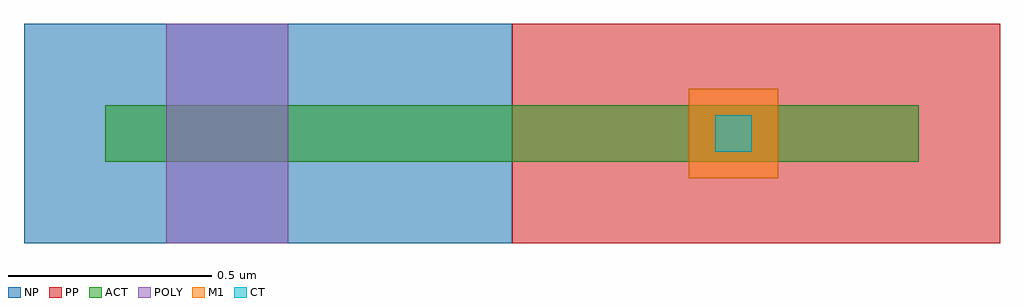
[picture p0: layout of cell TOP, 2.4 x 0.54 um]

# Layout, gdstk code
import gdstk
lib = gdstk.Library(unit=1e-6, precision=1e-09)
def R(c, l, rs):  # rectangles x0, y0, x1, y1
    for r in rs: c.add(gdstk.rectangle(r[:2], r[2:], *l))
ACT = (2, 1)
POLY = (41, 1)
NP = (52, 1)
PP = (53, 1)
CT = (72, 1)
M1 = (81, 1)

top = lib.new_cell('TOP')
R(top, ACT, [(0,0,2,0.14)])
R(top, POLY, [(0.15,-0.2,0.45,0.34)])
R(top, NP, [(-0.2,-0.2,1,0.34)])
R(top, PP, [(1,-0.2,2.2,0.34)])
R(top, CT, [(1.5,0.025,1.59,0.115)])
R(top, M1, [(1.435,-0.04,1.655,0.18)])

lib.write_gds('TOP.gds')
